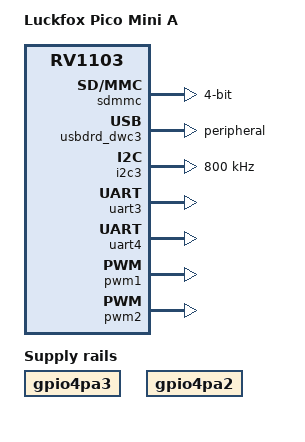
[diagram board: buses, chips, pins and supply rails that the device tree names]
// SPDX-License-Identifier: (GPL-2.0+ OR MIT)
/*
 * Copyright (c) 2023 Luckfox Electronics Co., Ltd.
 */

/dts-v1/;

#include "rv1103.dtsi"
#include "rv1106-evb.dtsi"
#include "rv1103-luckfox-pico-ipc.dtsi"

/ {
	model = "Luckfox Pico Mini A";
	compatible = "rockchip,rv1103g-38x38-ipc-v10", "rockchip,rv1103";

    gpio4pa3:gpio4pa3 {
        compatible = "regulator-fixed";
        pinctrl-names = "default";
        pinctrl-0 = <&gpio4_pa3>;
        regulator-name = "gpio4_pa3";
        regulator-always-on;
    };  
    gpio4pa2:gpio4pa2 {
        compatible = "regulator-fixed";
        pinctrl-names = "default";
        pinctrl-0 = <&gpio4_pa2>;
        regulator-name = "gpio4_pa2";
        regulator-always-on;
    };  
};

/**********GPIO**********/
&pinctrl {
    gpio4-pa3 {
        gpio4_pa3:gpio4-pa3 {
            rockchip,pins = <4 RK_PA3 RK_FUNC_GPIO &pcfg_pull_none>;
    	};
	};
    gpio4-pa2 {
        gpio4_pa2:gpio4-pa2 {
            rockchip,pins = <4 RK_PA2 RK_FUNC_GPIO &pcfg_pull_none>;
    	};
	};
};

/**********SDMMC**********/
&sdmmc {
	max-frequency = <50000000>;
	no-sdio;
	no-mmc;
	bus-width = <4>;
	cap-mmc-highspeed;
	cap-sd-highspeed;
	disable-wp;
	pinctrl-names = "default";
	pinctrl-0 = <&sdmmc0_clk &sdmmc0_cmd &sdmmc0_det &sdmmc0_bus4>;
	status = "okay";
};

/**********ETH**********/
&gmac {
	status = "disabled";
};

/**********USB**********/
&usbdrd_dwc3 {
	status = "okay";
	dr_mode = "peripheral";
};

/**********SPI**********/
/* SPI0_M0 */
// &spi0 {
// 	status = "disabled";
// 	spidev@0 {
// 		spi-max-frequency = <50000000>;
// 	};
// };

/**********I2C**********/
/* I2C3_M1 */
&i2c3 {
	status = "okay";
	clock-frequency = <800000>;
};

/**********UART**********/
/* UART3_M1 */
&uart3 {
	status = "okay";
};

/* UART4_M1 */
&uart4 {
	status = "okay";
};

/**********PWM**********/
/* PWM1_M0 */
&pwm1 {
	status = "okay";
};
/* PWM2_M2 */
&pwm2 {
	status = "okay";
	pinctrl-0 = <&pwm2m2_pins>;
};
